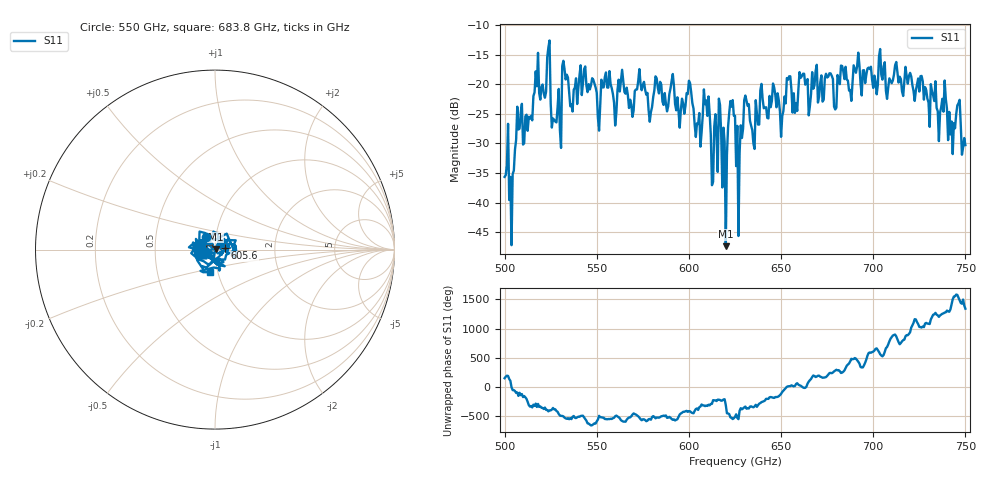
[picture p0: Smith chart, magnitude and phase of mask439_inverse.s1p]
!Created with skrf (http://scikit-rf.org).
# GHz S MA R 50.0
!freq magS11 angS11
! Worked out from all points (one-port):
!   401 points, 500 GHz to 750 GHz, reference 50 ohm
!   lowest |S11| = -47.3 dB at 620 GHz (marker M1), VSWR 1.01, Z = 50.3 + j0.31 ohm
!   |S11| at or under -10 dB: start of sweep to end of sweep
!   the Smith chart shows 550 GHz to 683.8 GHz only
!   S11 on the Smith chart (normalised r, x): 550 GHz: 0.90, +0.13; 605.6 GHz: 1.12, +0.02; 683.8 GHz: 0.92, -0.23
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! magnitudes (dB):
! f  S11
! 500 GHz  -35.6
! 503.8 GHz  -47.2
! 508.1 GHz  -27.5
! 513.8 GHz  -25.8
! 516.9 GHz  -17.8
! 523.8 GHz  -13.8
! 526.9 GHz  -26.0
! 531.2 GHz  -17.0
! 550 GHz  -21.5
! 562.5 GHz  -21.2
! 593.8 GHz  -22.2
! 600 GHz  -19.4
! 605.6 GHz  -24.9
! 609.4 GHz  -22.7
! 612.5 GHz  -37.1
! 615.6 GHz  -34.8
! 620 GHz  -47.3
! 622.5 GHz  -22.8
! 625 GHz  -25.3
! 626.9 GHz  -45.6
! 631.2 GHz  -22.8
! 634.4 GHz  -27.7
! 640 GHz  -22.5
! 656.2 GHz  -24.8
! 683.8 GHz  -17.8
! 687.5 GHz  -21.0
! 718.8 GHz  -19.9
! 750 GHz  -30.3
